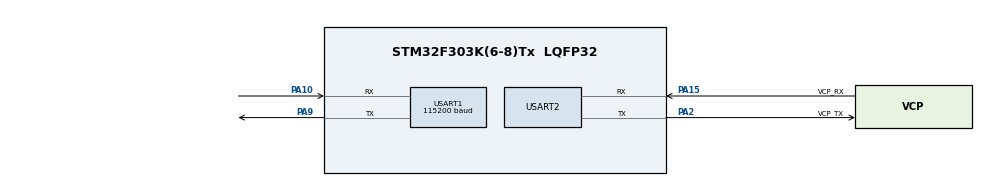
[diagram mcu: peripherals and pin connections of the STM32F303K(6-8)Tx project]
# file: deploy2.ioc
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Mcu.Family=STM32F3
Mcu.Name=STM32F303K(6-8)Tx
Mcu.Package=LQFP32
NVIC.PriorityGroup=NVIC_PRIORITYGROUP_4
PA10.Mode=Asynchronous
PA10.Signal=USART1_RX
PA13.GPIO_Label=SWDIO
PA13.Mode=Serial_Wire
PA13.Signal=SYS_JTMS-SWDIO
PA14.GPIO_Label=SWCLK
PA14.Mode=Serial_Wire
PA14.Signal=SYS_JTCK-SWCLK
PA15.GPIO_Label=VCP_RX
PA15.Mode=Asynchronous
PA15.Signal=USART2_RX
PA2.GPIO_Label=VCP_TX
PA2.Mode=Asynchronous
PA2.Signal=USART2_TX
PA9.Mode=Asynchronous
PA9.Signal=USART1_TX
PF0\ /\ OSC_IN.Mode=HSE-External-Oscillator
PF0\ /\ OSC_IN.Signal=RCC_OSC_IN
PF1\ /\ OSC_OUT.Mode=HSE-External-Oscillator
PF1\ /\ OSC_OUT.Signal=RCC_OSC_OUT
ProjectManager.HeapSize=0x800
ProjectManager.StackSize=0x800
ProjectManager.TargetToolchain=MDK-ARM V5.32
RCC.AHBFreq_Value=64000000
RCC.APB1CLKDivider=RCC_HCLK_DIV2
RCC.APB1Freq_Value=32000000
RCC.APB1TimFreq_Value=64000000
RCC.APB2Freq_Value=64000000
RCC.APB2TimFreq_Value=64000000
RCC.CortexFreq_Value=64000000
RCC.HCLKFreq_Value=64000000
RCC.HSICalibrationValue=8
RCC.HSI_VALUE=8000000
RCC.PLLMUL=RCC_PLL_MUL16
RCC.PREFETCH_ENABLE=0
RCC.SYSCLKFreq_VALUE=64000000
RCC.SYSCLKSourceVirtual=RCC_SYSCLKSOURCE_PLLCLK
RCC.VDD_VALUE=3.3
USART1.BaudRate=115200
USART1.VirtualMode-Asynchronous=VM_ASYNC
USART2.VirtualMode-Asynchronous=VM_ASYNC
VP_CRC_VS_CRC.Mode=CRC_Activate
board=NUCLEO-F303K8

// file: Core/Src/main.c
/* USER CODE BEGIN Header */
/**
  ******************************************************************************
  * @file           : main.c
  * @brief          : Main program body
  ******************************************************************************
  * @attention
  *
  * Copyright (c) 2023 STMicroelectronics.
  * All rights reserved.
  *
  * This software is licensed under terms that can be found in the LICENSE file
  * in the root directory of this software component.
  * If no LICENSE file comes with this software, it is provided AS-IS.
  *
  ******************************************************************************
  */
/* USER CODE END Header */
#include "main.h"
#include "crc.h"
#include "usart.h"
#include "gpio.h"

/* USER CODE BEGIN Includes */
#include <stdio.h>
#include <stdint.h>
#include "aiRun.h"
/* USER CODE END Includes */

void SystemClock_Config(void);
/* USER CODE BEGIN PFP */
uint32_t getCurrentMicros(void)
{
	LL_SYSTICK_IsActiveCounterFlag();
	uint32_t m = HAL_GetTick();
	const uint32_t tms = SysTick->LOAD + 1;
	__IO uint32_t u = tms - SysTick->VAL;
	if (LL_SYSTICK_IsActiveCounterFlag())
	{
		m = HAL_GetTick();
		u = tms - SysTick->VAL;
	}
	return (m*1000+(u*1000)/tms);
}
/* USER CODE END PFP */

/* USER CODE BEGIN 0 */
float input[1][1250][1]={0};
float result[2]={0};
/* USER CODE END 0 */

int main(void)
{
  /* USER CODE BEGIN 1 */
  float input_tmp;
  int status=0;
  double vector[2] = {0};
  double start_time = 0;
  double end_time = 0;
  /* USER CODE END 1 */

  /* MCU Configuration--------------------------------------------------------*/

  /* Reset of all peripherals, Initializes the Flash interface and the Systick. */
  HAL_Init();

  /* Configure the system clock */
  SystemClock_Config();

  /* Initialize all configured peripherals */
  MX_GPIO_Init();
  MX_USART1_UART_Init();
  MX_CRC_Init();
  MX_USART2_UART_Init();
  /* USER CODE BEGIN 2 */
  Model_Init();
  /* USER CODE END 2 */

  /* Infinite loop */
  while (1)
  {

    /* USER CODE BEGIN 3 */
    // Send the code "begin" to tell the upper computer that it can start sending a set of test data.
      printf("begin");
      for(int16_t i=0;i<1;i++)
      {
        for(int16_t j=0;j<1250;j++)
        {
          for(int16_t k=0;k<1;k++)
          {
            // Receive test data from serial port and save to input[]
            scanf("%f",&input_tmp);
            input[i][j][k]=input_tmp;
          }
        }
      }
      HAL_Delay(1);
    //Run the model and get results
    start_time = getCurrentMicros();
    aiRun(input, result);
    end_time = getCurrentMicros();

    // Send the code "ok" to tell the upper computer that inference is done and ready to send results.
    printf("ok");
    HAL_Delay(1);
    // Wait for the upper computer to send status 200, indicating that the code "ok" has been received
    scanf("%d",&status);
    if(status==200)
    {
      // Sending results to the upper computer
      if(result[0]>result[1])
        printf("0,%.6f", (double)(end_time-start_time)/(double)1000000);
      else
        printf("1,%.6f", (double)(end_time-start_time)/(double)1000000);
      HAL_Delay(30);
    }

    // printf("%.3f, %.3f\n", result[0], result[1]);
    // if(result[0]>result[1])
    //   printf("0, %.6fms\n", (double)(end_time-start_time)/(double)1000);
    // else
    //   printf("1, %.6fms\n", (double)(end_time-start_time)/(double)1000);
    // HAL_Delay(30);
  }
  /* USER CODE END 3 */
}

void SystemClock_Config(void)
{
  LL_FLASH_SetLatency(LL_FLASH_LATENCY_2);
  while(LL_FLASH_GetLatency()!= LL_FLASH_LATENCY_2)
  {
  }
  LL_RCC_HSI_Enable();

   /* Wait till HSI is ready */
  while(LL_RCC_HSI_IsReady() != 1)
  {

  }
  LL_RCC_HSI_SetCalibTrimming(8);
  LL_RCC_PLL_ConfigDomain_SYS(LL_RCC_PLLSOURCE_HSI_DIV_2, LL_RCC_PLL_MUL_16);
  LL_RCC_PLL_Enable();

   /* Wait till PLL is ready */
  while(LL_RCC_PLL_IsReady() != 1)
  {

  }
  LL_RCC_SetAHBPrescaler(LL_RCC_SYSCLK_DIV_1);
  LL_RCC_SetAPB1Prescaler(LL_RCC_APB1_DIV_2);
  LL_RCC_SetAPB2Prescaler(LL_RCC_APB2_DIV_1);
  LL_RCC_SetSysClkSource(LL_RCC_SYS_CLKSOURCE_PLL);

   /* Wait till System clock is ready */
  while(LL_RCC_GetSysClkSource() != LL_RCC_SYS_CLKSOURCE_STATUS_PLL)
  {

  }
  LL_SetSystemCoreClock(64000000);

   /* Update the time base */
  if (HAL_InitTick (TICK_INT_PRIORITY) != HAL_OK)
  {
    Error_Handler();
  }
  LL_RCC_SetUSARTClockSource(LL_RCC_USART1_CLKSOURCE_PCLK1);
}

void Error_Handler(void)
{
  __disable_irq();
  while (1)
  {
  }
}
